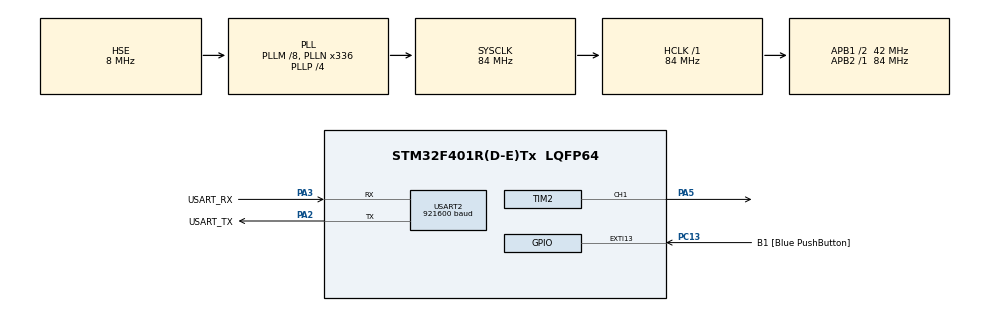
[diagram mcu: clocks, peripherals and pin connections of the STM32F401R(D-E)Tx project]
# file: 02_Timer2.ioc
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Mcu.Family=STM32F4
Mcu.Name=STM32F401R(D-E)Tx
Mcu.Package=LQFP64
NVIC.PriorityGroup=NVIC_PRIORITYGROUP_4
PA13.GPIO_Label=TMS
PA13.Mode=Trace_Asynchronous_SW
PA13.Signal=SYS_JTMS-SWDIO
PA14.GPIO_Label=TCK
PA14.Mode=Trace_Asynchronous_SW
PA14.Signal=SYS_JTCK-SWCLK
PA2.GPIO_Label=USART_TX
PA2.GPIO_Mode=GPIO_MODE_AF_PP
PA2.GPIO_PuPd=GPIO_NOPULL
PA2.GPIO_Speed=GPIO_SPEED_FREQ_LOW
PA2.Mode=Asynchronous
PA2.Signal=USART2_TX
PA3.GPIO_Label=USART_RX
PA3.GPIO_Mode=GPIO_MODE_AF_PP
PA3.GPIO_PuPd=GPIO_NOPULL
PA3.GPIO_Speed=GPIO_SPEED_FREQ_LOW
PA3.Mode=Asynchronous
PA3.Signal=USART2_RX
PA5.Signal=S_TIM2_CH1_ETR
PB3.GPIO_Label=SWO
PB3.Mode=Trace_Asynchronous_SW
PB3.Signal=SYS_JTDO-SWO
PC13-ANTI_TAMP.GPIO_Label=B1 [Blue PushButton]
PC13-ANTI_TAMP.GPIO_ModeDefaultEXTI=GPIO_MODE_IT_FALLING
PC13-ANTI_TAMP.GPIO_PuPd=GPIO_NOPULL
PC13-ANTI_TAMP.Signal=GPXTI13
PC14-OSC32_IN.Mode=LSE-External-Oscillator
PC14-OSC32_IN.Signal=RCC_OSC32_IN
PC15-OSC32_OUT.Mode=LSE-External-Oscillator
PC15-OSC32_OUT.Signal=RCC_OSC32_OUT
PH0\ -\ OSC_IN.Mode=HSE-External-Clock-Source
PH0\ -\ OSC_IN.Signal=RCC_OSC_IN
PH1\ -\ OSC_OUT.Mode=HSE-External-Clock-Source
PH1\ -\ OSC_OUT.Signal=RCC_OSC_OUT
ProjectManager.HeapSize=0x200
ProjectManager.StackSize=0x400
ProjectManager.TargetToolchain=STM32CubeIDE
RCC.48MHZClocksFreq_Value=48000000
RCC.AHBFreq_Value=84000000
RCC.APB1CLKDivider=RCC_HCLK_DIV2
RCC.APB1Freq_Value=42000000
RCC.APB1TimFreq_Value=84000000
RCC.APB2Freq_Value=84000000
RCC.APB2TimFreq_Value=84000000
RCC.CortexFreq_Value=84000000
RCC.HCLKFreq_Value=84000000
RCC.HSE_VALUE=8000000
RCC.HSI_VALUE=16000000
RCC.PLLM=8
RCC.PLLN=336
RCC.PLLP=RCC_PLLP_DIV4
RCC.PLLQ=7
RCC.PLLSourceVirtual=RCC_PLLSOURCE_HSE
RCC.SYSCLKFreq_VALUE=84000000
RCC.SYSCLKSource=RCC_SYSCLKSOURCE_PLLCLK
RCC.VCOOutputFreq_Value=336000000
SH.S_TIM2_CH1_ETR.0=TIM2_CH1,PWM Generation1 CH1
TIM2.Channel-PWM\ Generation1\ CH1=TIM_CHANNEL_1
TIM2.Period=999
TIM2.Prescaler=839
USART2.BaudRate=921600
USART2.VirtualMode=VM_ASYNC
board=NUCLEO-F401RE

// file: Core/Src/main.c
/* USER CODE BEGIN Header */
/**
  ******************************************************************************
  * @file           : main.c
  * @brief          : Main program body
  ******************************************************************************
  * @attention
  *
  * Copyright (c) 2025 STMicroelectronics.
  * All rights reserved.
  *
  * This software is licensed under terms that can be found in the LICENSE file
  * in the root directory of this software component.
  * If no LICENSE file comes with this software, it is provided AS-IS.
  *
  ******************************************************************************
  */
/* USER CODE END Header */
#include "main.h"

/* USER CODE BEGIN Includes */
#include <stdio.h>
/* USER CODE END Includes */

TIM_HandleTypeDef htim2;

UART_HandleTypeDef huart2;

void SystemClock_Config(void);
static void MX_GPIO_Init(void);
static void MX_USART2_UART_Init(void);
static void MX_TIM2_Init(void);

/* USER CODE BEGIN 0 */
int_write (int file, char *ptr, int len){
	HAL_UART_Transmit(&huart2, (uint8_t *)ptr, len, 10);
	return len;
}
/* USER CODE END 0 */

int main(void)
{

  /* MCU Configuration--------------------------------------------------------*/

  /* Reset of all peripherals, Initializes the Flash interface and the Systick. */
  HAL_Init();

  /* Configure the system clock */
  SystemClock_Config();

  /* Initialize all configured peripherals */
  MX_GPIO_Init();
  MX_USART2_UART_Init();
  MX_TIM2_Init();
  /* USER CODE BEGIN 2 */
  printf("Start timer");
  HAL_TIM_PWM_Start(&htim2,TIM_CHANNEL_1);

  /* USER CODE END 2 */

  /* Infinite loop */
  /* USER CODE BEGIN WHILE */

  int brightness = 0;
  int step = 1;
  uint32_t timestamp = 0;

  while (1)
  {
	  if (HAL_GetTick() - timestamp >= 10){
		  timestamp = HAL_GetTick();

		  __HAL_TIM_SET_COMPARE(&htim2,TIM_CHANNEL_1, brightness);
			  brightness += step;
			  if (brightness >= 1000) step = -10;
			  if (brightness <= 0) step = 10;
			  if (brightness == 0) printf("Cycle Restart!\r\n");
	  }

  }
    /* USER CODE END WHILE */
}

void SystemClock_Config(void)
{
  RCC_OscInitTypeDef RCC_OscInitStruct = {0};
  RCC_ClkInitTypeDef RCC_ClkInitStruct = {0};

  /** Configure the main internal regulator output voltage
  */
  __HAL_RCC_PWR_CLK_ENABLE();
  __HAL_PWR_VOLTAGESCALING_CONFIG(PWR_REGULATOR_VOLTAGE_SCALE2);

  /** Initializes the RCC Oscillators according to the specified parameters
  * in the RCC_OscInitTypeDef structure.
  */
  RCC_OscInitStruct.OscillatorType = RCC_OSCILLATORTYPE_HSE;
  RCC_OscInitStruct.HSEState = RCC_HSE_BYPASS;
  RCC_OscInitStruct.PLL.PLLState = RCC_PLL_ON;
  RCC_OscInitStruct.PLL.PLLSource = RCC_PLLSOURCE_HSE;
  RCC_OscInitStruct.PLL.PLLM = 8;
  RCC_OscInitStruct.PLL.PLLN = 336;
  RCC_OscInitStruct.PLL.PLLP = RCC_PLLP_DIV4;
  RCC_OscInitStruct.PLL.PLLQ = 7;
  if (HAL_RCC_OscConfig(&RCC_OscInitStruct) != HAL_OK)
  {
    Error_Handler();
  }

  /** Initializes the CPU, AHB and APB buses clocks
  */
  RCC_ClkInitStruct.ClockType = RCC_CLOCKTYPE_HCLK|RCC_CLOCKTYPE_SYSCLK
                              |RCC_CLOCKTYPE_PCLK1|RCC_CLOCKTYPE_PCLK2;
  RCC_ClkInitStruct.SYSCLKSource = RCC_SYSCLKSOURCE_PLLCLK;
  RCC_ClkInitStruct.AHBCLKDivider = RCC_SYSCLK_DIV1;
  RCC_ClkInitStruct.APB1CLKDivider = RCC_HCLK_DIV2;
  RCC_ClkInitStruct.APB2CLKDivider = RCC_HCLK_DIV1;

  if (HAL_RCC_ClockConfig(&RCC_ClkInitStruct, FLASH_LATENCY_2) != HAL_OK)
  {
    Error_Handler();
  }
}

static void MX_TIM2_Init(void)
{

  TIM_MasterConfigTypeDef sMasterConfig = {0};
  TIM_OC_InitTypeDef sConfigOC = {0};

  htim2.Instance = TIM2;
  htim2.Init.Prescaler = 839;
  htim2.Init.CounterMode = TIM_COUNTERMODE_UP;
  htim2.Init.Period = 999;
  htim2.Init.ClockDivision = TIM_CLOCKDIVISION_DIV1;
  htim2.Init.AutoReloadPreload = TIM_AUTORELOAD_PRELOAD_DISABLE;
  if (HAL_TIM_PWM_Init(&htim2) != HAL_OK)
  {
    Error_Handler();
  }
  sMasterConfig.MasterOutputTrigger = TIM_TRGO_RESET;
  sMasterConfig.MasterSlaveMode = TIM_MASTERSLAVEMODE_DISABLE;
  if (HAL_TIMEx_MasterConfigSynchronization(&htim2, &sMasterConfig) != HAL_OK)
  {
    Error_Handler();
  }
  sConfigOC.OCMode = TIM_OCMODE_PWM1;
  sConfigOC.Pulse = 0;
  sConfigOC.OCPolarity = TIM_OCPOLARITY_HIGH;
  sConfigOC.OCFastMode = TIM_OCFAST_DISABLE;
  if (HAL_TIM_PWM_ConfigChannel(&htim2, &sConfigOC, TIM_CHANNEL_1) != HAL_OK)
  {
    Error_Handler();
  }
  HAL_TIM_MspPostInit(&htim2);

}

static void MX_USART2_UART_Init(void)
{

  huart2.Instance = USART2;
  huart2.Init.BaudRate = 921600;
  huart2.Init.WordLength = UART_WORDLENGTH_8B;
  huart2.Init.StopBits = UART_STOPBITS_1;
  huart2.Init.Parity = UART_PARITY_NONE;
  huart2.Init.Mode = UART_MODE_TX_RX;
  huart2.Init.HwFlowCtl = UART_HWCONTROL_NONE;
  huart2.Init.OverSampling = UART_OVERSAMPLING_16;
  if (HAL_UART_Init(&huart2) != HAL_OK)
  {
    Error_Handler();
  }

}

static void MX_GPIO_Init(void)
{
  GPIO_InitTypeDef GPIO_InitStruct = {0};

  /* GPIO Ports Clock Enable */
  __HAL_RCC_GPIOC_CLK_ENABLE();
  __HAL_RCC_GPIOH_CLK_ENABLE();
  __HAL_RCC_GPIOA_CLK_ENABLE();
  __HAL_RCC_GPIOB_CLK_ENABLE();

  /*Configure GPIO pin : B1_Pin */
  GPIO_InitStruct.Pin = B1_Pin;
  GPIO_InitStruct.Mode = GPIO_MODE_IT_FALLING;
  GPIO_InitStruct.Pull = GPIO_NOPULL;
  HAL_GPIO_Init(B1_GPIO_Port, &GPIO_InitStruct);

}

void Error_Handler(void)
{
  __disable_irq();
  while (1)
  {
  }
}
